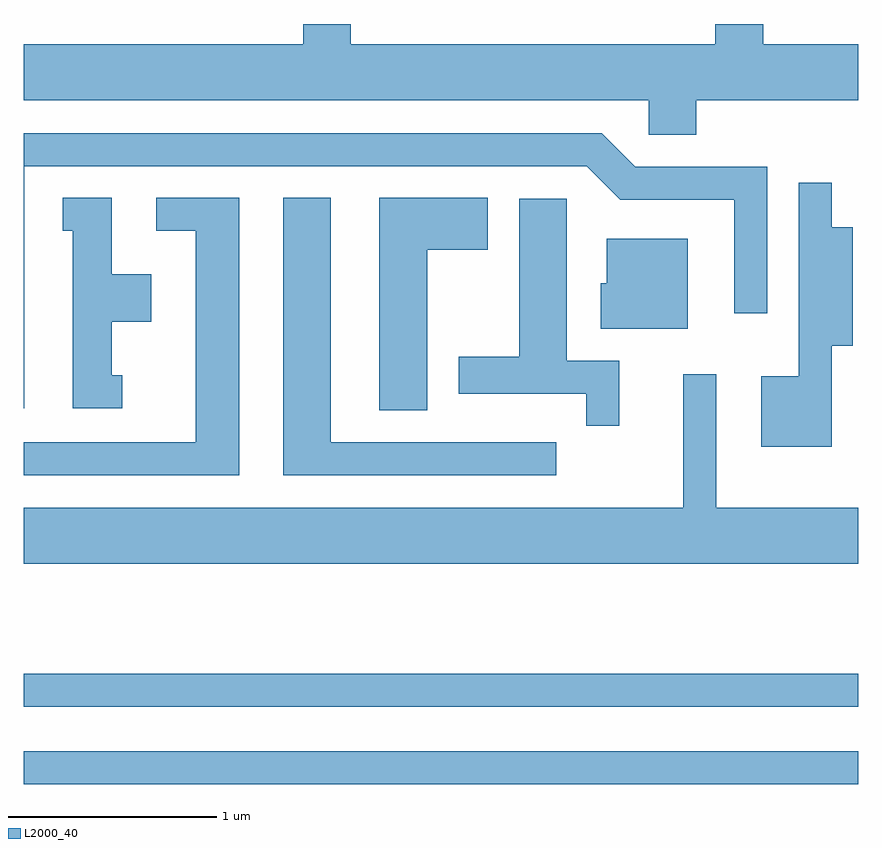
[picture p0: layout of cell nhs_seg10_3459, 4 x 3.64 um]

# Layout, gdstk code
import gdstk
lib = gdstk.Library(unit=1e-6, precision=1e-09)
def R(c, l, rs):  # rectangles x0, y0, x1, y1
    for r in rs: c.add(gdstk.rectangle(r[:2], r[2:], *l))
def P(c, l, *ps):  # polygons
    for p in ps: c.add(gdstk.Polygon(p, *l))
L2000_40 = (2000, 40)

nhs_seg10_3459 = lib.new_cell('nhs_seg10_3459')
R(nhs_seg10_3459, L2000_40, [(287.611,2092.881,291.611,2093.039), (287.611,2093.251,291.611,2093.409)])
P(nhs_seg10_3459, L2000_40, [(290.834,2096.156),(291.611,2096.156),(291.611,2096.424),(291.154,2096.424),(291.154,2096.522),(290.926,2096.522),(290.926,2096.424),(289.179,2096.424),(289.179,2096.522),(288.951,2096.522),(288.951,2096.424),(287.611,2096.424),(287.611,2096.156),(290.606,2096.156),(290.606,2095.991),(290.834,2095.991)],
  [(287.614,2095.841),(290.309,2095.841),(290.469,2095.681),(291.016,2095.681),(291.016,2095.137),(291.174,2095.137),(291.174,2095.839),(290.542,2095.839),(290.382,2095.999),(287.611,2095.999),(287.611,2094.681),(287.614,2094.681)],
  [(291.484,2094.981),(291.584,2094.981),(291.584,2095.549),(291.484,2095.549),(291.484,2095.762),(291.326,2095.762),(291.326,2094.834),(291.146,2094.834),(291.146,2094.496),(291.484,2094.496)],
  [(288.083,2094.839),(288.034,2094.839),(288.034,2095.096),(288.224,2095.096),(288.224,2095.324),(288.034,2095.324),(288.034,2095.689),(287.798,2095.689),(287.798,2095.531),(287.846,2095.531),(287.846,2094.681),(288.083,2094.681)],
  [(288.644,2095.689),(288.248,2095.689),(288.248,2095.531),(288.436,2095.531),(288.436,2094.519),(287.611,2094.519),(287.611,2094.361),(288.644,2094.361)],
  [(290.163,2094.519),(289.084,2094.519),(289.084,2095.689),(288.856,2095.689),(288.856,2094.361),(290.163,2094.361)],
  [(289.544,2095.441),(289.834,2095.441),(289.834,2095.689),(289.316,2095.689),(289.316,2094.671),(289.544,2094.671)],
  [(290.464,2094.909),(290.214,2094.909),(290.214,2095.684),(289.986,2095.684),(289.986,2094.929),(289.696,2094.929),(289.696,2094.751),(290.306,2094.751),(290.306,2094.597),(290.464,2094.597)],
  [(290.794,2095.494),(290.406,2095.494),(290.406,2095.279),(290.376,2095.279),(290.376,2095.061),(290.794,2095.061)],
  [(291.611,2094.204),(290.929,2094.204),(290.929,2094.843),(290.771,2094.843),(290.771,2094.204),(287.611,2094.204),(287.611,2093.936),(291.611,2093.936)])

lib.write_gds('nhs_seg10_3459.gds')
